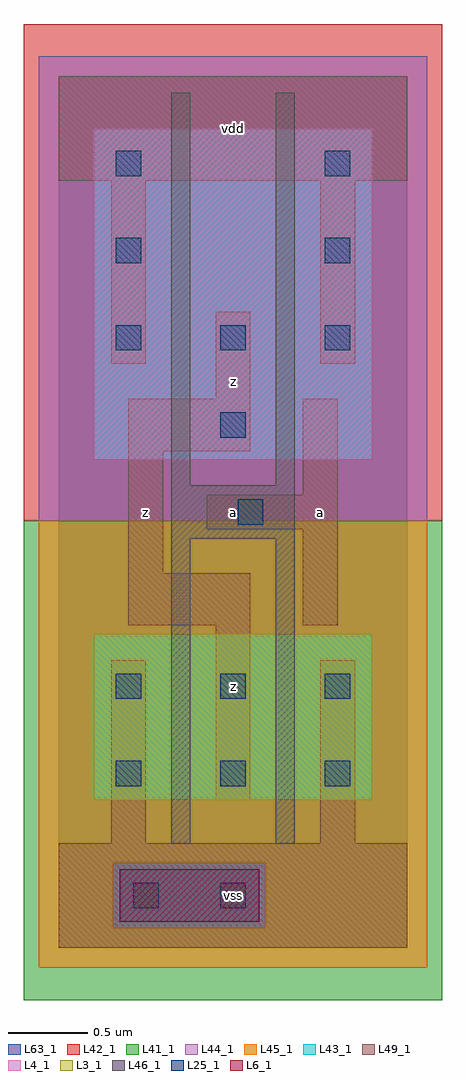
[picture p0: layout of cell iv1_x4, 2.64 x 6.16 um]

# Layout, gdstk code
import gdstk
lib = gdstk.Library(unit=1e-6, precision=1e-09)
def R(c, l, rs):  # rectangles x0, y0, x1, y1
    for r in rs: c.add(gdstk.rectangle(r[:2], r[2:], *l))
def A(c, l, x, y, w, h, nx, ny, dx, dy):  # array of equal rectangles
    R(c, l, [(x+i*dx, y+j*dy, x+i*dx+w, y+j*dy+h) for i in range(nx) for j in range(ny)])
L3_1 = (3, 1)
L4_1 = (4, 1)
L6_1 = (6, 1)
L25_1 = (25, 1)
L41_1 = (41, 1)
L42_1 = (42, 1)
L43_1 = (43, 1)
L44_1 = (44, 1)
L45_1 = (45, 1)
L46_1 = (46, 1)
L49_1 = (49, 1)
L63_1 = (63, 1)

iv1_x4 = lib.new_cell('iv1_x4')
R(iv1_x4, L3_1, [(0.22,0.935,1.98,1.98)])
R(iv1_x4, L4_1, [(0.22,3.08,1.98,5.17)])
R(iv1_x4, L6_1, [(0.385,0.165,1.265,0.495)])
A(iv1_x4, L25_1, 0.36, 1.02, 0.16, 0.16, 3, 2, 0.66, 0.55)
A(iv1_x4, L25_1, 0.36, 3.77, 0.16, 0.16, 3, 1, 0.66, 0)
R(iv1_x4, L25_1, [(0.47,0.25,0.63,0.41), (1.02,0.25,1.18,0.41), (1.13,2.67,1.29,2.83), (1.02,3.22,1.18,3.38), (0.36,4.32,0.52,4.48), (1.68,4.32,1.84,4.48), (0.36,4.87,0.52,5.03), (1.68,4.87,1.84,5.03)])
R(iv1_x4, L41_1, [(-0.22,-0.33,2.42,2.695)])
R(iv1_x4, L42_1, [(-0.22,2.695,2.42,5.83)])
R(iv1_x4, L43_1, [(0.385,0.165,1.265,0.495), (0.22,0.935,1.98,1.98), (0.22,3.08,1.98,5.17)])
R(iv1_x4, L44_1, [(0.345,0.125,1.305,0.535), (-0.125,2.695,2.325,5.625)])
R(iv1_x4, L45_1, [(-0.125,-0.125,2.325,0.125), (-0.125,0.125,0.345,0.535), (1.305,0.125,2.325,0.535), (-0.125,0.535,2.325,2.695)])
R(iv1_x4, L46_1, [(0.71,0.655,0.83,2.58), (1.37,0.655,1.49,2.58), (0.71,2.58,1.49,2.92), (0.71,2.92,0.83,5.395), (1.37,2.92,1.49,5.395)])
R(iv1_x4, L49_1, [(0,0,2.2,0.66), (0.33,0.66,0.55,1.815), (1.65,0.66,1.87,1.815), (0.99,0.935,1.21,2.035), (0.44,2.035,1.21,2.365), (1.54,2.035,1.76,2.64), (0.44,2.365,0.66,3.135), (0.935,2.64,1.76,2.86), (1.54,2.86,1.76,3.465), (0.44,3.135,1.21,3.465), (0.99,3.465,1.21,4.015), (0.33,3.685,0.55,4.84), (1.65,3.685,1.87,4.84), (0,4.84,2.2,5.5)])
R(iv1_x4, L63_1, [(0,0,2.2,5.5)])
iv1_x4.add(gdstk.Label('z', (0.55,2.75), layer=49, texttype=1))
iv1_x4.add(gdstk.Label('z', (0.55,2.75), layer=49, texttype=1))
iv1_x4.add(gdstk.Label('vss', (1.1,0.33), layer=49, texttype=1))
iv1_x4.add(gdstk.Label('vss', (1.1,0.33), layer=49, texttype=1))
iv1_x4.add(gdstk.Label('z', (1.1,1.65), layer=49, texttype=1))
iv1_x4.add(gdstk.Label('z', (1.1,1.65), layer=49, texttype=1))
iv1_x4.add(gdstk.Label('a', (1.1,2.75), layer=49, texttype=1))
iv1_x4.add(gdstk.Label('a', (1.1,2.75), layer=49, texttype=1))
iv1_x4.add(gdstk.Label('z', (1.1,3.575), layer=49, texttype=1))
iv1_x4.add(gdstk.Label('z', (1.1,3.575), layer=49, texttype=1))
iv1_x4.add(gdstk.Label('vdd', (1.1,5.17), layer=49, texttype=1))
iv1_x4.add(gdstk.Label('vdd', (1.1,5.17), layer=49, texttype=1))
iv1_x4.add(gdstk.Label('a', (1.65,2.75), layer=49, texttype=1))
iv1_x4.add(gdstk.Label('a', (1.65,2.75), layer=49, texttype=1))

lib.write_gds('iv1_x4.gds')
